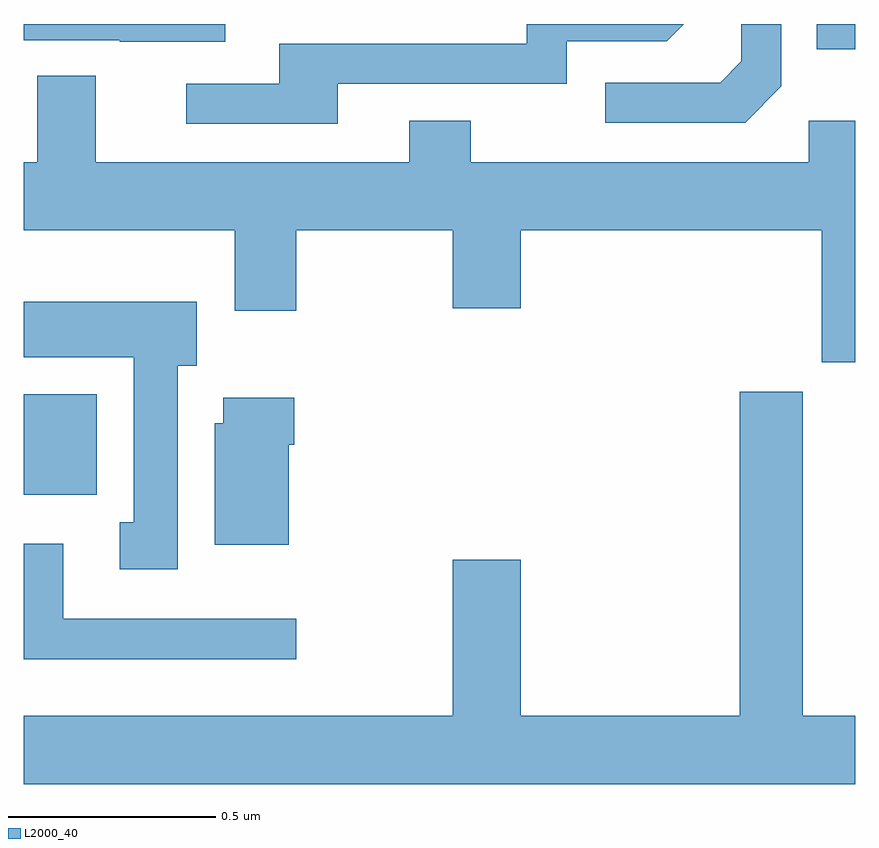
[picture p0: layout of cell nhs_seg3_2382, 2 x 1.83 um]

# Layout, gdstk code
import gdstk
lib = gdstk.Library(unit=1e-6, precision=1e-09)
def R(c, l, rs):  # rectangles x0, y0, x1, y1
    for r in rs: c.add(gdstk.rectangle(r[:2], r[2:], *l))
def P(c, l, *ps):  # polygons
    for p in ps: c.add(gdstk.Polygon(p, *l))
L2000_40 = (2000, 40)

nhs_seg3_2382 = lib.new_cell('nhs_seg3_2382')
R(nhs_seg3_2382, L2000_40, [(140,712.268,140.176,712.51), (141.907,713.339,142,713.4)])
P(nhs_seg3_2382, L2000_40, [(141.822,713.25),(141.822,713.4),(141.726,713.4),(141.726,713.31),(141.675,713.259),(141.399,713.259),(141.399,713.163),(141.735,713.163)],
  [(140.755,713.256),(141.306,713.256),(141.306,713.358),(141.546,713.358),(141.588,713.4),(141.21,713.4),(141.21,713.352),(140.615,713.352),(140.615,713.256),(140.391,713.256),(140.391,713.16),(140.755,713.16)],
  [(140.485,713.4),(140,713.4),(140,713.361),(140.231,713.361),(140.231,713.357),(140.485,713.357)],
  [(142,713.167),(141.888,713.167),(141.888,713.068),(141.075,713.068),(141.075,713.167),(140.927,713.167),(140.927,713.068),(140.173,713.068),(140.173,713.276),(140.033,713.276),(140.033,713.068),(140,713.068),(140,712.904),(140.507,712.904),(140.507,712.71),(140.655,712.71),(140.655,712.904),(141.032,712.904),(141.032,712.716),(141.196,712.716),(141.196,712.904),(141.92,712.904),(141.92,712.587),(142,712.587)],
  [(140.371,712.578),(140.416,712.578),(140.416,712.732),(140,712.732),(140,712.598),(140.264,712.598),(140.264,712.202),(140.231,712.202),(140.231,712.089),(140.371,712.089)],
  [(142,711.736),(141.874,711.736),(141.874,712.515),(141.722,712.515),(141.722,711.736),(141.196,711.736),(141.196,712.111),(141.032,712.111),(141.032,711.736),(140,711.736),(140,711.572),(142,711.572)],
  [(140.638,712.388),(140.651,712.388),(140.651,712.501),(140.48,712.501),(140.48,712.44),(140.459,712.44),(140.459,712.148),(140.638,712.148)],
  [(140.656,711.969),(140.095,711.969),(140.095,712.15),(140,712.15),(140,711.872),(140.656,711.872)])

lib.write_gds('nhs_seg3_2382.gds')
